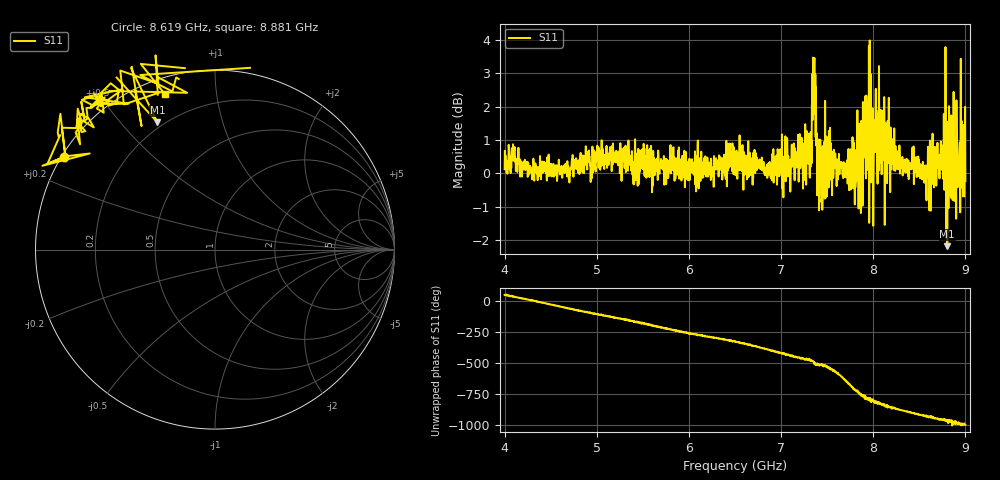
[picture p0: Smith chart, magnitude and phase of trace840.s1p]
! Created with skrf 1.8.0 (http://scikit-rf.org).
# Hz S RI R 50.0
!freq ReS11 ImS11
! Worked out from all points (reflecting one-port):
!   1601 points, 4 GHz to 9 GHz, reference 50 ohm
!   lowest |S11| = -2.2 dB at 8.803 GHz (marker M1), VSWR 8.03, Z = 8.76 + j31.6 ohm
!   phase of S11 starts at 51 deg and turns -1048 deg over the sweep
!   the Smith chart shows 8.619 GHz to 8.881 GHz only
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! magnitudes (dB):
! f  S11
! 4 GHz  0.1
! 4.094 GHz  0.4
! 4.275 GHz  0.2
! 4.625 GHz  -0.1
! 5.25 GHz  0.0
! 5.875 GHz  0.1
! 6.5 GHz  0.0
! 7.125 GHz  0.8
! 7.306 GHz  0.6
! 7.347 GHz  3.5
! 7.359 GHz  3.2
! 7.4 GHz  0.4
! 7.428 GHz  0.2
! 7.512 GHz  0.8
! 7.566 GHz  -0.1
! 7.75 GHz  -0.1
! 7.859 GHz  1.0
! 7.95 GHz  0.2
! 7.981 GHz  0.5
! 8.05 GHz  1.8
! 8.375 GHz  0.2
! 8.441 GHz  -0.3
! 8.566 GHz  0.2
! 8.759 GHz  -0.2
! 8.803 GHz  -2.2
! 8.919 GHz  -0.2
! 8.972 GHz  0.3
! 9 GHz  -0.2
